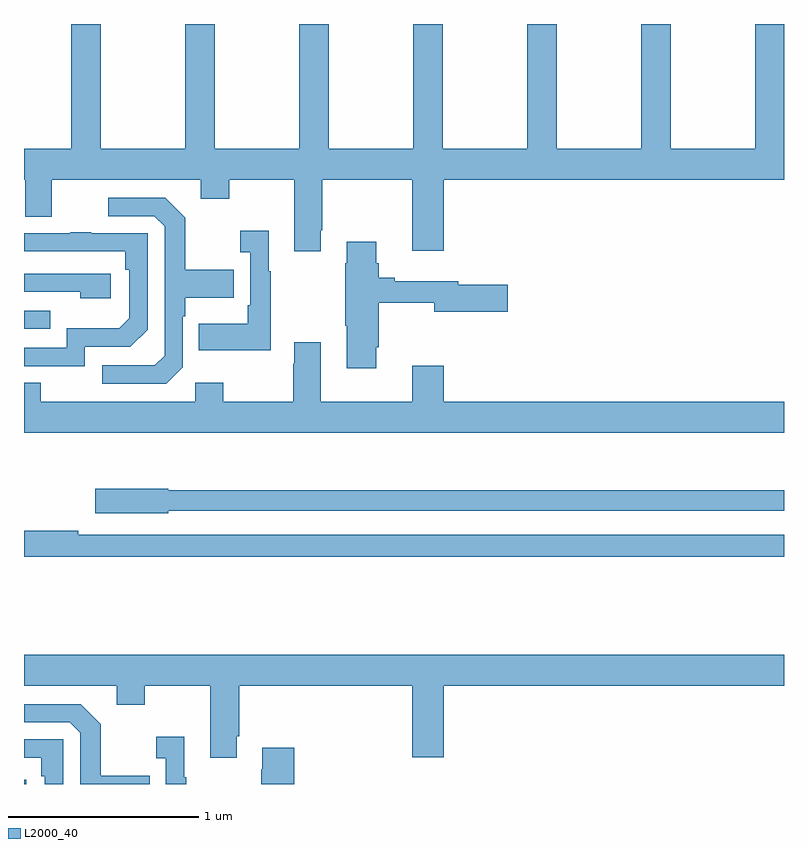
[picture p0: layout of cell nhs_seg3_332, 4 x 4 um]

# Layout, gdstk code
import gdstk
lib = gdstk.Library(unit=1e-6, precision=1e-09)
def R(c, l, rs):  # rectangles x0, y0, x1, y1
    for r in rs: c.add(gdstk.rectangle(r[:2], r[2:], *l))
def P(c, l, *ps):  # polygons
    for p in ps: c.add(gdstk.Polygon(p, *l))
L2000_40 = (2000, 40)

nhs_seg3_332 = lib.new_cell('nhs_seg3_332')
R(nhs_seg3_332, L2000_40, [(127,700.4,127.012,700.422), (127,702.795,127.139,702.891)])
P(nhs_seg3_332, L2000_40, [(128.563,703.315),(128.571,703.315),(128.571,703.58),(129.044,703.58),(129.044,703.206),(129.208,703.206),(129.208,703.58),(131,703.58),(131,704.4),(130.849,704.4),(130.849,703.744),(130.404,703.744),(130.404,704.4),(130.249,704.4),(130.249,703.744),(129.804,703.744),(129.804,704.4),(129.649,704.4),(129.649,703.744),(129.204,703.744),(129.204,704.4),(129.049,704.4),(129.049,703.744),(128.604,703.744),(128.604,704.4),(128.449,704.4),(128.449,703.744),(128.004,703.744),(128.004,704.4),(127.849,704.4),(127.849,703.744),(127.404,703.744),(127.404,704.4),(127.249,704.4),(127.249,703.744),(127,703.744),(127,703.58),(127.007,703.58),(127.007,703.386),(127.147,703.386),(127.147,703.58),(127.931,703.58),(127.931,703.481),(128.079,703.481),(128.079,703.58),(128.423,703.58),(128.423,703.203),(128.563,703.203)],
  [(127.836,702.594),(127.836,702.863),(127.849,702.863),(127.849,702.959),(128.105,702.959),(128.105,703.107),(127.849,703.107),(127.849,703.379),(127.743,703.485),(127.443,703.485),(127.443,703.389),(127.686,703.389),(127.74,703.335),(127.74,702.654),(127.689,702.603),(127.413,702.603),(127.413,702.507),(127.749,702.507)],
  [(128.299,703.099),(128.287,703.099),(128.287,703.312),(128.139,703.312),(128.139,703.199),(128.19,703.199),(128.19,702.919),(128.178,702.919),(128.178,702.823),(127.921,702.823),(127.921,702.683),(128.299,702.683)],
  [(127.32,702.702),(127.56,702.702),(127.65,702.792),(127.65,703.299),(127.355,703.299),(127.355,703.304),(127.243,703.304),(127.243,703.299),(127,703.299),(127,703.203),(127.534,703.203),(127.534,703.106),(127.554,703.106),(127.554,702.852),(127.501,702.799),(127.224,702.799),(127.224,702.696),(127,702.696),(127,702.6),(127.32,702.6)],
  [(128.854,702.7),(128.867,702.7),(128.867,702.932),(129.158,702.932),(129.158,702.886),(129.547,702.886),(129.547,703.028),(129.286,703.028),(129.286,703.045),(128.95,703.045),(128.95,703.064),(128.867,703.064),(128.867,703.142),(128.854,703.142),(128.854,703.255),(128.699,703.255),(128.699,703.142),(128.692,703.142),(128.692,702.811),(128.699,702.811),(128.699,702.588),(128.854,702.588)],
  [(127.456,703.086),(127,703.086),(127,702.99),(127.295,702.99),(127.295,702.956),(127.456,702.956)],
  [(131,702.412),(129.208,702.412),(129.208,702.601),(129.044,702.601),(129.044,702.412),(128.563,702.412),(128.563,702.724),(128.423,702.724),(128.423,702.611),(128.416,702.611),(128.416,702.412),(128.049,702.412),(128.049,702.511),(127.902,702.511),(127.902,702.412),(127.089,702.412),(127.089,702.511),(127,702.511),(127,702.248),(131,702.248)],
  [(127.758,701.838),(131,701.838),(131,701.947),(127.758,701.947),(127.758,701.955),(127.374,701.955),(127.374,701.825),(127.758,701.825)],
  [(131,701.712),(127.286,701.712),(127.286,701.732),(127,701.732),(127,701.596),(131,701.596)],
  [(128.119,700.651),(128.132,700.651),(128.132,700.916),(129.044,700.916),(129.044,700.542),(129.208,700.542),(129.208,700.916),(131,700.916),(131,701.08),(127,701.08),(127,700.916),(127.487,700.916),(127.487,700.817),(127.635,700.817),(127.635,700.916),(127.979,700.916),(127.979,700.539),(128.119,700.539)],
  [(127.661,700.443),(127.405,700.443),(127.405,700.715),(127.299,700.821),(127,700.821),(127,700.725),(127.242,700.725),(127.296,700.671),(127.296,700.4),(127.661,700.4)],
  [(127.855,700.435),(127.843,700.435),(127.843,700.648),(127.695,700.648),(127.695,700.535),(127.746,700.535),(127.746,700.4),(127.855,700.4)],
  [(127.206,700.635),(127,700.635),(127,700.539),(127.09,700.539),(127.09,700.442),(127.11,700.442),(127.11,700.4),(127.206,700.4)],
  [(128.423,700.591),(128.255,700.591),(128.255,700.478),(128.248,700.478),(128.248,700.4),(128.423,700.4)])

lib.write_gds('nhs_seg3_332.gds')
